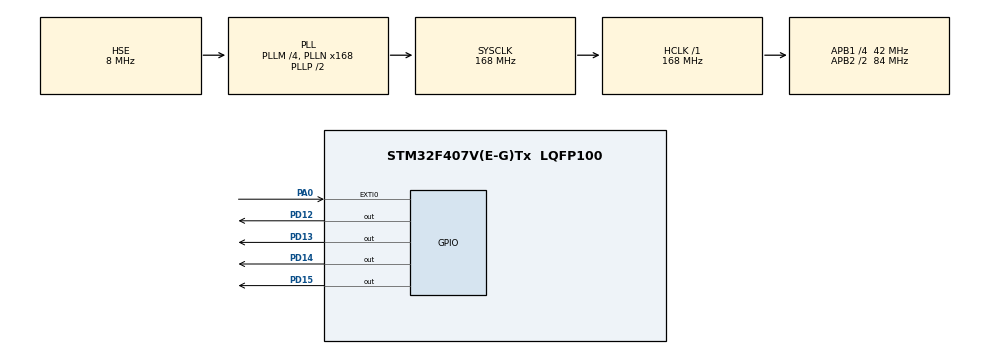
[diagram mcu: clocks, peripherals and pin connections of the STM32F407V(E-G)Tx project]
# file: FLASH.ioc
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Mcu.Family=STM32F4
Mcu.Name=STM32F407V(E-G)Tx
Mcu.Package=LQFP100
NVIC.EXTI0_IRQn=true\:0\:0\:false\:false\:true\:true
NVIC.PriorityGroup=NVIC_PRIORITYGROUP_4
PA0-WKUP.GPIO_PuPd=GPIO_PULLDOWN
PA0-WKUP.Signal=GPXTI0
PD12.Signal=GPIO_Output
PD13.Signal=GPIO_Output
PD14.Signal=GPIO_Output
PD15.Signal=GPIO_Output
PH0-OSC_IN.Mode=HSE-External-Oscillator
PH0-OSC_IN.Signal=RCC_OSC_IN
PH1-OSC_OUT.Mode=HSE-External-Oscillator
PH1-OSC_OUT.Signal=RCC_OSC_OUT
ProjectManager.HeapSize=0x200
ProjectManager.StackSize=0x400
ProjectManager.TargetToolchain=MDK-ARM V5
RCC.48MHZClocksFreq_Value=84000000
RCC.AHBFreq_Value=168000000
RCC.APB1CLKDivider=RCC_HCLK_DIV4
RCC.APB1Freq_Value=42000000
RCC.APB1TimFreq_Value=84000000
RCC.APB2CLKDivider=RCC_HCLK_DIV2
RCC.APB2Freq_Value=84000000
RCC.APB2TimFreq_Value=168000000
RCC.CortexFreq_Value=168000000
RCC.HCLKFreq_Value=168000000
RCC.HSE_VALUE=8000000
RCC.HSI_VALUE=16000000
RCC.LSE_VALUE=32768
RCC.PLLM=4
RCC.PLLN=168
RCC.PLLSourceVirtual=RCC_PLLSOURCE_HSE
RCC.SYSCLKFreq_VALUE=168000000
RCC.SYSCLKSource=RCC_SYSCLKSOURCE_PLLCLK
RCC.VCOOutputFreq_Value=336000000
board=custom

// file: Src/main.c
/**
  ******************************************************************************
  * @file           : main.c
  * @brief          : Main program body
  ******************************************************************************
  ** This notice applies to any and all portions of this file
  * that are not between comment pairs USER CODE BEGIN and
  * USER CODE END. Other portions of this file, whether
  * inserted by the user or by software development tools
  * are owned by their respective copyright owners.
  *
  * COPYRIGHT(c) 2018 STMicroelectronics
  *
  * Redistribution and use in source and binary forms, with or without modification,
  * are permitted provided that the following conditions are met:
  *   1. Redistributions of source code must retain the above copyright notice,
  *      this list of conditions and the following disclaimer.
  *   2. Redistributions in binary form must reproduce the above copyright notice,
  *      this list of conditions and the following disclaimer in the documentation
  *      and/or other materials provided with the distribution.
  *   3. Neither the name of STMicroelectronics nor the names of its contributors
  *      may be used to endorse or promote products derived from this software
  *      without specific prior written permission.
  *
  * THIS SOFTWARE IS PROVIDED BY THE COPYRIGHT HOLDERS AND CONTRIBUTORS "AS IS"
  * AND ANY EXPRESS OR IMPLIED WARRANTIES, INCLUDING, BUT NOT LIMITED TO, THE
  * IMPLIED WARRANTIES OF MERCHANTABILITY AND FITNESS FOR A PARTICULAR PURPOSE ARE
  * DISCLAIMED. IN NO EVENT SHALL THE COPYRIGHT HOLDER OR CONTRIBUTORS BE LIABLE
  * FOR ANY DIRECT, INDIRECT, INCIDENTAL, SPECIAL, EXEMPLARY, OR CONSEQUENTIAL
  * DAMAGES (INCLUDING, BUT NOT LIMITED TO, PROCUREMENT OF SUBSTITUTE GOODS OR
  * SERVICES; LOSS OF USE, DATA, OR PROFITS; OR BUSINESS INTERRUPTION) HOWEVER
  * CAUSED AND ON ANY THEORY OF LIABILITY, WHETHER IN CONTRACT, STRICT LIABILITY,
  * OR TORT (INCLUDING NEGLIGENCE OR OTHERWISE) ARISING IN ANY WAY OUT OF THE USE
  * OF THIS SOFTWARE, EVEN IF ADVISED OF THE POSSIBILITY OF SUCH DAMAGE.
  *
  ******************************************************************************
  */
#include "main.h"
#include "stm32f4xx_hal.h"

/* USER CODE BEGIN Includes */
	/*
		Flash hafiza içerisine okuma ve yazma islemleri yapar (bu proje için sector 0)
		A0 butonunu exti ile kontrol eder.
		A0 pinine bagli butona göre D12 - D15 arasi pinler degisir
		Her pin degisiminde pinin durumu Flash hafizaya kaydedilir.
		Enerji reseti sonrasinda flash hafiza okunur ve son pin duurmu ledlere yansitilir.

	*/
/* USER CODE END Includes */

	uint8_t button_counter = 0, flash_flag = 0;

/* USER CODE BEGIN PV */
/* Private variables ---------------------------------------------------------*/

/* USER CODE END PV */

void SystemClock_Config(void);
static void MX_GPIO_Init(void);

/* USER CODE BEGIN PFP */
/* Private function prototypes -----------------------------------------------*/

/* USER CODE END PFP */

/* USER CODE BEGIN 0 */
	uint32_t flash_read(uint32_t address){
	return *(uint32_t*)address;
	}

	void flash_write(uint32_t address, uint32_t data){
		HAL_FLASH_Unlock();
		FLASH_Erase_Sector(FLASH_SECTOR_11,VOLTAGE_RANGE_1);
		HAL_FLASH_Program(FLASH_TYPEPROGRAM_WORD,address,data);
		HAL_FLASH_Lock();
	}
/* USER CODE END 0 */

int main(void)
{
  /* USER CODE BEGIN 1 */
	uint32_t flash_data;
	const uint32_t flash_address = 0x080E0000;
  /* USER CODE END 1 */

  /* MCU Configuration----------------------------------------------------------*/

  /* Reset of all peripherals, Initializes the Flash interface and the Systick. */
  HAL_Init();

  /* Configure the system clock */
  SystemClock_Config();

  /* Initialize all configured peripherals */
  MX_GPIO_Init();
  /* USER CODE BEGIN 2 */
	flash_data = flash_read(flash_address);
	if(flash_data < 5)
		 button_counter = flash_data;
  /* USER CODE END 2 */

  /* Infinite loop */
  while (1)
  {

  /* USER CODE BEGIN 3 */

   switch(button_counter) {
      case 0 :
        HAL_GPIO_WritePin(GPIOD,GPIO_PIN_12,GPIO_PIN_RESET);
			  HAL_GPIO_WritePin(GPIOD,GPIO_PIN_13,GPIO_PIN_RESET);
        HAL_GPIO_WritePin(GPIOD,GPIO_PIN_14,GPIO_PIN_RESET);
        HAL_GPIO_WritePin(GPIOD,GPIO_PIN_15,GPIO_PIN_RESET);
         break;
      case 1 :
        HAL_GPIO_WritePin(GPIOD,GPIO_PIN_12,GPIO_PIN_SET);
			  HAL_GPIO_WritePin(GPIOD,GPIO_PIN_13,GPIO_PIN_RESET);
        HAL_GPIO_WritePin(GPIOD,GPIO_PIN_14,GPIO_PIN_RESET);
        HAL_GPIO_WritePin(GPIOD,GPIO_PIN_15,GPIO_PIN_RESET);

			break;
      case 2 :
        HAL_GPIO_WritePin(GPIOD,GPIO_PIN_12,GPIO_PIN_SET);
			  HAL_GPIO_WritePin(GPIOD,GPIO_PIN_13,GPIO_PIN_SET);
        HAL_GPIO_WritePin(GPIOD,GPIO_PIN_14,GPIO_PIN_RESET);
        HAL_GPIO_WritePin(GPIOD,GPIO_PIN_15,GPIO_PIN_RESET);

			break;
      case 3 :
        HAL_GPIO_WritePin(GPIOD,GPIO_PIN_12,GPIO_PIN_SET);
			  HAL_GPIO_WritePin(GPIOD,GPIO_PIN_13,GPIO_PIN_SET);
        HAL_GPIO_WritePin(GPIOD,GPIO_PIN_14,GPIO_PIN_SET);
        HAL_GPIO_WritePin(GPIOD,GPIO_PIN_15,GPIO_PIN_RESET);
			break;
			case 4 :
        HAL_GPIO_WritePin(GPIOD,GPIO_PIN_12,GPIO_PIN_SET);
			  HAL_GPIO_WritePin(GPIOD,GPIO_PIN_13,GPIO_PIN_SET);
        HAL_GPIO_WritePin(GPIOD,GPIO_PIN_14,GPIO_PIN_SET);
        HAL_GPIO_WritePin(GPIOD,GPIO_PIN_15,GPIO_PIN_SET);
			break;
      default :
				button_counter = 0;
   }

	if(flash_flag == 1)
	{
	 	flash_write(flash_address,button_counter);
		flash_flag = 0;
	}

	}
  /* USER CODE END 3 */

}

void SystemClock_Config(void)
{

  RCC_OscInitTypeDef RCC_OscInitStruct;
  RCC_ClkInitTypeDef RCC_ClkInitStruct;

    /**Configure the main internal regulator output voltage
    */
  __HAL_RCC_PWR_CLK_ENABLE();

  __HAL_PWR_VOLTAGESCALING_CONFIG(PWR_REGULATOR_VOLTAGE_SCALE1);

    /**Initializes the CPU, AHB and APB busses clocks
    */
  RCC_OscInitStruct.OscillatorType = RCC_OSCILLATORTYPE_HSE;
  RCC_OscInitStruct.HSEState = RCC_HSE_ON;
  RCC_OscInitStruct.PLL.PLLState = RCC_PLL_ON;
  RCC_OscInitStruct.PLL.PLLSource = RCC_PLLSOURCE_HSE;
  RCC_OscInitStruct.PLL.PLLM = 4;
  RCC_OscInitStruct.PLL.PLLN = 168;
  RCC_OscInitStruct.PLL.PLLP = RCC_PLLP_DIV2;
  RCC_OscInitStruct.PLL.PLLQ = 4;
  if (HAL_RCC_OscConfig(&RCC_OscInitStruct) != HAL_OK)
  {
    _Error_Handler(__FILE__, __LINE__);
  }

    /**Initializes the CPU, AHB and APB busses clocks
    */
  RCC_ClkInitStruct.ClockType = RCC_CLOCKTYPE_HCLK|RCC_CLOCKTYPE_SYSCLK
                              |RCC_CLOCKTYPE_PCLK1|RCC_CLOCKTYPE_PCLK2;
  RCC_ClkInitStruct.SYSCLKSource = RCC_SYSCLKSOURCE_PLLCLK;
  RCC_ClkInitStruct.AHBCLKDivider = RCC_SYSCLK_DIV1;
  RCC_ClkInitStruct.APB1CLKDivider = RCC_HCLK_DIV4;
  RCC_ClkInitStruct.APB2CLKDivider = RCC_HCLK_DIV2;

  if (HAL_RCC_ClockConfig(&RCC_ClkInitStruct, FLASH_LATENCY_5) != HAL_OK)
  {
    _Error_Handler(__FILE__, __LINE__);
  }

    /**Configure the Systick interrupt time
    */
  HAL_SYSTICK_Config(HAL_RCC_GetHCLKFreq()/1000);

    /**Configure the Systick
    */
  HAL_SYSTICK_CLKSourceConfig(SYSTICK_CLKSOURCE_HCLK);

  /* SysTick_IRQn interrupt configuration */
  HAL_NVIC_SetPriority(SysTick_IRQn, 0, 0);
}

/** Configure pins as
        * Analog
        * Input
        * Output
        * EVENT_OUT
        * EXTI
*/
static void MX_GPIO_Init(void)
{

  GPIO_InitTypeDef GPIO_InitStruct;

  /* GPIO Ports Clock Enable */
  __HAL_RCC_GPIOH_CLK_ENABLE();
  __HAL_RCC_GPIOA_CLK_ENABLE();
  __HAL_RCC_GPIOD_CLK_ENABLE();

  /*Configure GPIO pin Output Level */
  HAL_GPIO_WritePin(GPIOD, GPIO_PIN_12|GPIO_PIN_13|GPIO_PIN_14|GPIO_PIN_15, GPIO_PIN_RESET);

  /*Configure GPIO pin : PA0 */
  GPIO_InitStruct.Pin = GPIO_PIN_0;
  GPIO_InitStruct.Mode = GPIO_MODE_IT_RISING;
  GPIO_InitStruct.Pull = GPIO_PULLDOWN;
  HAL_GPIO_Init(GPIOA, &GPIO_InitStruct);

  /*Configure GPIO pins : PD12 PD13 PD14 PD15 */
  GPIO_InitStruct.Pin = GPIO_PIN_12|GPIO_PIN_13|GPIO_PIN_14|GPIO_PIN_15;
  GPIO_InitStruct.Mode = GPIO_MODE_OUTPUT_PP;
  GPIO_InitStruct.Pull = GPIO_NOPULL;
  GPIO_InitStruct.Speed = GPIO_SPEED_FREQ_LOW;
  HAL_GPIO_Init(GPIOD, &GPIO_InitStruct);

  /* EXTI interrupt init*/
  HAL_NVIC_SetPriority(EXTI0_IRQn, 0, 0);
  HAL_NVIC_EnableIRQ(EXTI0_IRQn);

}

void _Error_Handler(char *file, int line)
{
  while(1)
  {
  }
}

/************************ (C) COPYRIGHT STMicroelectronics *****END OF FILE****/
